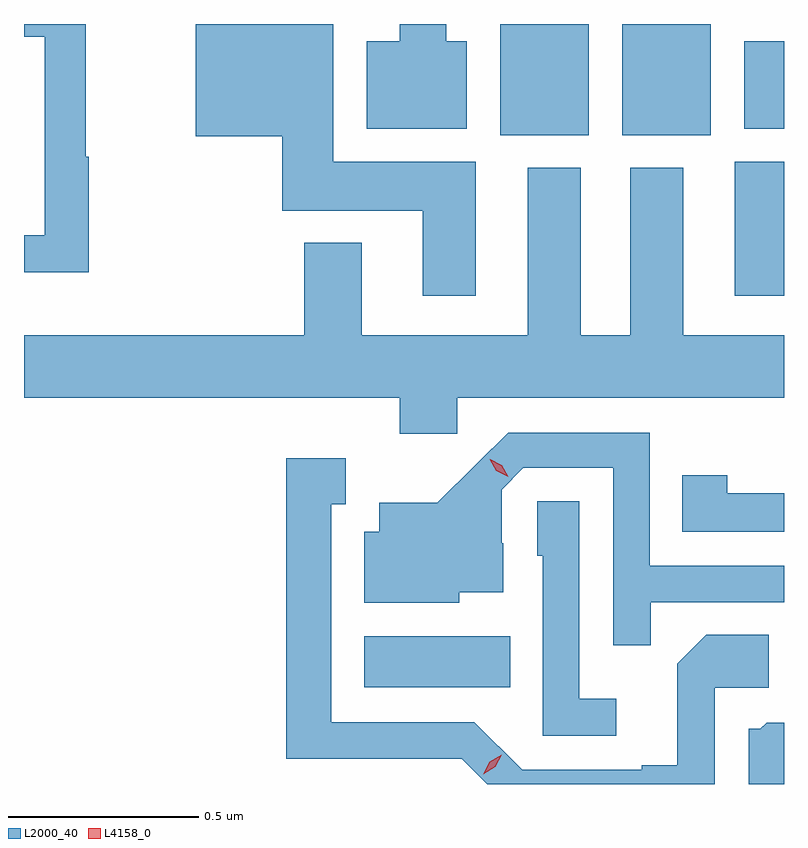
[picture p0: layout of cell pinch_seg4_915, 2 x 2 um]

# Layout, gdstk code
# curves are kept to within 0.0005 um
import gdstk
lib = gdstk.Library(unit=1e-6, precision=1e-09)
def R(c, l, rs):  # rectangles x0, y0, x1, y1
    for r in rs: c.add(gdstk.rectangle(r[:2], r[2:], *l))
def P(c, l, *ps):  # polygons
    for p in ps: c.add(gdstk.Polygon(p, *l))
L2000_40 = (2000, 40)
L4158_0 = (4158, 0)

pinch_seg4_915 = lib.new_cell('pinch_seg4_915')
R(pinch_seg4_915, L2000_40, [(754.532,825.362,754.916,825.496), (755.507,826.392,755.636,826.744), (754.889,826.814,755.122,827.107), (755.21,826.814,755.443,827.107), (755.531,826.832,755.636,827.062)])
P(pinch_seg4_915, L2000_40, [(753.806,826.758),(753.799,826.758),(753.799,827.107),(753.636,827.107),(753.636,827.073),(753.69,827.073),(753.69,826.551),(753.636,826.551),(753.636,826.454),(753.806,826.454)],
  [(754.801,827.062),(754.747,827.062),(754.747,827.107),(754.625,827.107),(754.625,827.062),(754.538,827.062),(754.538,826.832),(754.801,826.832)],
  [(754.825,826.744),(754.45,826.744),(754.45,827.107),(754.088,827.107),(754.088,826.811),(754.316,826.811),(754.316,826.616),(754.685,826.616),(754.685,826.392),(754.825,826.392)],
  [(754.776,826.124),(755.636,826.124),(755.636,826.288),(755.371,826.288),(755.371,826.729),(755.231,826.729),(755.231,826.288),(755.101,826.288),(755.101,826.729),(754.961,826.729),(754.961,826.288),(754.525,826.288),(754.525,826.531),(754.373,826.531),(754.373,826.288),(753.636,826.288),(753.636,826.124),(754.625,826.124),(754.625,826.029),(754.776,826.029)],
  [(755.285,825.585),(755.636,825.585),(755.636,825.681),(755.283,825.681),(755.283,826.032),(754.91,826.032),(754.723,825.847),(754.571,825.847),(754.571,825.771),(754.532,825.771),(754.532,825.584),(754.782,825.584),(754.782,825.611),(754.897,825.611),(754.897,825.74),(754.893,825.74),(754.893,825.882),(754.95,825.939),(755.187,825.939),(755.187,825.472),(755.285,825.472)],
  [(755.454,825.36),(755.596,825.36),(755.596,825.5),(755.431,825.5),(755.355,825.424),(755.355,825.157),(755.261,825.157),(755.261,825.144),(754.947,825.144),(754.821,825.27),(754.444,825.27),(754.444,825.843),(754.483,825.843),(754.483,825.964),(754.326,825.964),(754.326,825.173),(754.566,825.173),(754.566,825.174),(754.788,825.174),(754.855,825.107),(755.454,825.107)],
  [(755.636,825.872),(755.487,825.872),(755.487,825.919),(755.368,825.919),(755.368,825.771),(755.636,825.771)],
  [(755.194,825.331),(755.097,825.331),(755.097,825.851),(754.986,825.851),(754.986,825.708),(755.001,825.708),(755.001,825.234),(755.194,825.234)],
  [(755.636,825.268),(755.59,825.268),(755.574,825.252),(755.543,825.252),(755.543,825.107),(755.636,825.107)])
P(pinch_seg4_915, L4158_0, [(754.91,825.915),(754.879,825.931),(754.862,825.961),(754.862,825.961),(754.863,825.961),(754.893,825.946),(754.91,825.916),(754.91,825.915)],
  [(754.844,825.133),(754.844,825.133),(754.861,825.165),(754.893,825.184),(754.893,825.184),(754.893,825.184),(754.876,825.152),(754.844,825.133)])

lib.write_gds('pinch_seg4_915.gds')
